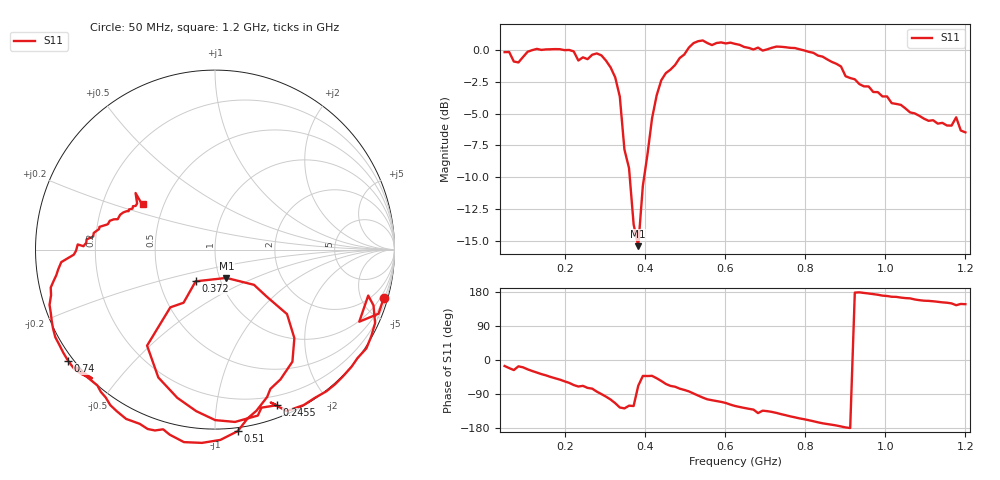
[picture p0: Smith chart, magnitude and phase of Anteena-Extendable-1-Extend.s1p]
# HZ S RI R 50
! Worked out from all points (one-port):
!   101 points, 50 MHz to 1.2 GHz, reference 50 ohm
!   lowest |S11| = -15.4 dB at 383.5 MHz (marker M1), VSWR 1.41, Z = 53.8 - j17.5 ohm
!   |S11| at or under -10 dB: 362.4 MHz to 398.1 MHz (35.74 MHz wide, 9.4 % of centre)
!   S11 on the Smith chart (normalised r, x): 50 MHz: 0.58, -7.14; 245.5 MHz: 0.11, -1.47; 372 MHz: 0.76, -0.28; 510 MHz: -0.02, -1.13; 740 MHz: -0.01, -0.34; 1.2 GHz: 0.38, +0.25
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5e7  0.9409 -0.267
7.3e7  0.8038 -0.4017
8.45e7  0.8537 -0.2561
1.305e8  0.8434 -0.5503
1.995e8  0.5539 -0.8275
2.34e8  0.3106 -0.8519
2.455e8  0.3457 -0.8668
2.915e8  0.00115 -0.9501
3.145e8  -0.21 -0.8259
3.375e8  -0.3784 -0.5349
3.49e8  -0.249 -0.3218
3.72e8  -0.1078 -0.1768
3.835e8  0.0635 -0.1578
3.95e8  0.2173 -0.1962
4.295e8  0.4421 -0.4932
4.87e8  0.2305 -0.8982
5.1e8  0.1266 -1.011
5.56e8  -0.2528 -1.031
6.25e8  -0.5476 -0.9001
6.71e8  -0.655 -0.7573
6.825e8  -0.7815 -0.6535
6.94e8  -0.6854 -0.7167
7.4e8  -0.8184 -0.6195
7.745e8  -0.89 -0.4876
8.435e8  -0.9152 -0.2114
9.125e8  -0.7742 -0.00673
1.062e9  -0.542 0.1695
1.2e9  -0.3991 0.2564
